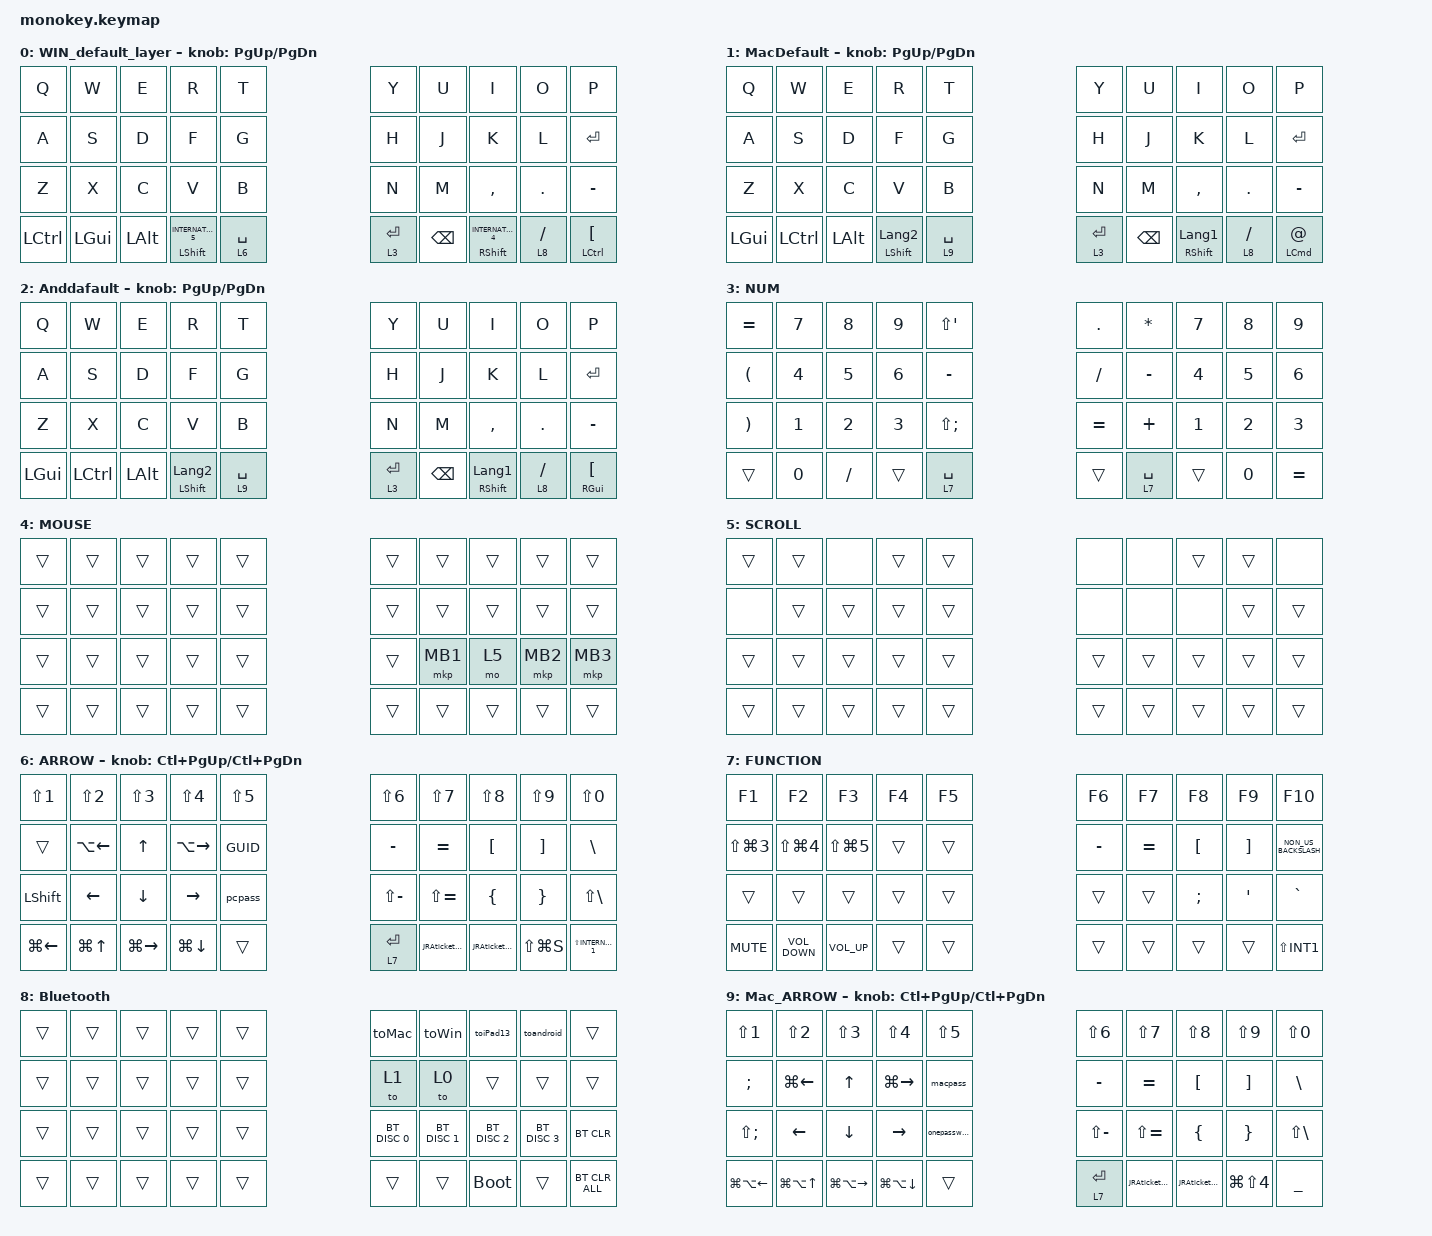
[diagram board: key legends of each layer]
/*
 * Copyright (c) 2024 Conductor Keyboard
 * Generated by Conductor Studio 2.0
 */

#include <input/processors.dtsi>
#include <behaviors.dtsi>
#include <dt-bindings/zmk/bt.h>
#include <dt-bindings/zmk/keys.h>
#include <dt-bindings/zmk/pointing.h>

#define MOUSE 4
#define SCROLL 5
#define NUM 2

&mt {
    flavor = "balanced";
    quick-tap-ms = <0>;
};

&mkp_input_listener { input-processors = <&zip_temp_layer 4 10000>; };

&lt { quick-tap-ms = <0>; };

/ {
    combos {
        compatible = "zmk,combos";

        backspace {
            bindings = <&kp BACKSPACE>;
            key-positions = <8 9>;
        };

        delete {
            bindings = <&kp DELETE>;
            key-positions = <9 8 7>;
        };

        tab {
            bindings = <&kp TAB>;
            key-positions = <0 1>;
        };

        shift_tab {
            bindings = <&kp LS(TAB)>;
            key-positions = <0 1 2>;
        };

        esc {
            bindings = <&kp ESCAPE>;
            key-positions = <10 0>;
        };

        scroll {
            bindings = <&mo 5>;
            key-positions = <27 35>;
        };

        kakuninnnyou {
            bindings = <&trans>;
            key-positions = <30 29 20 26 27 28 25>;
        };

        shift {
            bindings = <&kp LEFT_SHIFT>;
            key-positions = <20 21>;
        };

        double_quatation {
            bindings = <&kp SQT>;
            key-positions = <19 18>;
        };
    };

    macros {
        GUID: GUID {
            compatible = "zmk,behavior-macro";
            #binding-cells = <0>;
            bindings = <&kp S &kp H &kp U &kp N &kp DOT &kp S &kp DOT &kp O &kp K &kp U &kp N &kp O &kp LEFT_BRACKET &kp P &kp W &kp C &kp DOT &kp C &kp O &kp M>;
            label = "GUID";
        };

        pcpass: pwcpass {
            compatible = "zmk,behavior-macro";
            #binding-cells = <0>;
            bindings = <&kp LS(I) &kp L &kp I &kp V &kp E &kp I &kp N &kp LS(J) &kp U &kp N &kp E &kp N2 &kp N4 &kp N1 &kp N9 &kp N8 &kp N7 &kp EXCL>;
            label = "PWCPASS";
        };

        macpass: macpass {
            compatible = "zmk,behavior-macro";
            #binding-cells = <0>;
            bindings = <&kp A &kp L &kp T &kp E &kp R &kp N &kp A &kp T &kp I &kp V &kp E>;
            label = "MACPASS";
        };

        onepassword: onepassword {
            compatible = "zmk,behavior-macro";
            #binding-cells = <0>;
            bindings = <&kp LS(I) &kp L &kp I &kp V &kp E &kp I &kp N &kp LS(J) &kp A &kp P &kp A &kp N &kp N7 &kp EXCL>;
            label = "ONEPASSWORD";
        };

        toMac: toMacStudio {
            compatible = "zmk,behavior-macro";
            #binding-cells = <0>;
            bindings = <&bt BT_SEL 0>, <&macro_wait_time 200>, <&to 1>;

            label = "TOMACSTUDIO";
        };

        toWin: toiPad13 {
            compatible = "zmk,behavior-macro";
            #binding-cells = <0>;
            bindings = <&bt BT_SEL 1>, <&macro_wait_time 200>, <&to 0>;

            label = "TOIPAD13";
        };

        toiPad13: toiPad11 {
            compatible = "zmk,behavior-macro";
            #binding-cells = <0>;
            bindings = <&bt BT_SEL 2>, <&macro_wait_time 200>, <&to 1>;

            label = "TOIPAD11";
        };

        toiPadmini: toiPhone {
            compatible = "zmk,behavior-macro";
            #binding-cells = <0>;
            bindings = <&bt BT_SEL 3>, <&macro_wait_time 200>, <&to 1>;

            label = "TOIPHONE";
        };

        JRAticketSmartsheet2: JTAticketSmartsheet {
            compatible = "zmk,behavior-macro";
            #binding-cells = <0>;
            bindings = <&kp TAB &kp LEFT_SHIFT &kp ENTER &kp TAB &kp TAB &kp ENTER>;
            label = "JTATICKETSMARTSHEET";
        };

        JRAticketSmartsheet1: JRAticketSmartsheet1 {
            compatible = "zmk,behavior-macro";
            #binding-cells = <0>;
            bindings = <&kp TAB &kp LEFT_SHIFT &kp ENTER &kp TAB &kp ENTER>;
            label = "JRATICKETSMARTSHEET1";
        };

        toandroid: toandroid {
            compatible = "zmk,behavior-macro";
            #binding-cells = <0>;
            bindings = <&bt BT_SEL 3>, <&macro_wait_time 200>, <&to 2>;

            label = "TOANDROID";
        };
    };

    behaviors {
        right_click: right_click_behavior {
            compatible = "zmk,behavior-mouse-key";
            label = "RIGHT_CLICK";
            #binding-cells = <0>;

            // 右クリックは通常 MB2 に対応（ZMKの標準定義）

            bindings = <&mkp MB2>;
        };
    };

    keymap {
        compatible = "zmk,keymap";

        WIN_default_layer {
            bindings = <
&kp Q             &kp W         &kp E         &kp R                           &kp T                                    &kp Y                            &kp U  &kp I      &kp O        &kp P
&kp A             &kp S         &kp D         &kp F                           &kp G                                    &kp H                            &kp J  &kp K      &kp L        &kp ENTER
&kp Z             &kp X         &kp C         &kp V                           &kp B                                    &kp N                            &kp M  &kp COMMA  &kp PERIOD   &kp MINUS
&kp LEFT_CONTROL  &kp LEFT_GUI  &kp LEFT_ALT  &mt LEFT_SHIFT INTERNATIONAL_5  &lt 6 SPACE  &lt 3 ENTER  &kp BACKSPACE  &mt RIGHT_SHIFT INTERNATIONAL_4                    &lt 8 SLASH  &mt LEFT_CONTROL LEFT_BRACKET
            >;

            sensor-bindings = <&inc_dec_kp PG_UP PAGE_DOWN>;
        };

        MacDefault {
            bindings = <
&kp Q         &kp W             &kp E         &kp R                      &kp T                                    &kp Y                       &kp U  &kp I      &kp O        &kp P
&kp A         &kp S             &kp D         &kp F                      &kp G                                    &kp H                       &kp J  &kp K      &kp L        &kp ENTER
&kp Z         &kp X             &kp C         &kp V                      &kp B                                    &kp N                       &kp M  &kp COMMA  &kp PERIOD   &kp MINUS
&kp LEFT_GUI  &kp LEFT_CONTROL  &kp LEFT_ALT  &mt LEFT_SHIFT LANGUAGE_2  &lt 9 SPACE  &lt 3 ENTER  &kp BACKSPACE  &mt RIGHT_SHIFT LANGUAGE_1                    &lt 8 SLASH  &mt LEFT_COMMAND AT_SIGN
            >;

            sensor-bindings = <&inc_dec_kp PG_UP PAGE_DOWN>;
        };

        Anddafault {
            bindings = <
&kp Q         &kp W             &kp E         &kp R                      &kp T                                    &kp Y                       &kp U  &kp I      &kp O        &kp P
&kp A         &kp S             &kp D         &kp F                      &kp G                                    &kp H                       &kp J  &kp K      &kp L        &kp ENTER
&kp Z         &kp X             &kp C         &kp V                      &kp B                                    &kp N                       &kp M  &kp COMMA  &kp PERIOD   &kp MINUS
&kp LEFT_GUI  &kp LEFT_CONTROL  &kp LEFT_ALT  &mt LEFT_SHIFT LANGUAGE_2  &lt 9 SPACE  &lt 3 ENTER  &kp BACKSPACE  &mt RIGHT_SHIFT LANGUAGE_1                    &lt 8 SLASH  &mt RIGHT_GUI LEFT_BRACKET
            >;

            sensor-bindings = <&inc_dec_kp PG_UP PAGE_DOWN>;
        };

        NUM {
            bindings = <
&kp EQUAL              &kp N7        &kp N8        &kp N9        &kp LS(APOS)                            &kp DOT    &kp ASTRK  &kp N7        &kp N8        &kp N9
&kp LEFT_PARENTHESIS   &kp NUMBER_4  &kp N5        &kp NUMBER_6  &kp MINUS                               &kp SLASH  &kp MINUS  &kp NUMBER_4  &kp N5        &kp NUMBER_6
&kp RIGHT_PARENTHESIS  &kp NUMBER_1  &kp NUMBER_2  &kp NUMBER_3  &kp LS(SEMICOLON)                       &kp EQUAL  &kp PLUS   &kp NUMBER_1  &kp NUMBER_2  &kp NUMBER_3
&trans                 &kp N0        &kp SLASH     &trans        &lt 7 SPACE        &trans  &lt 7 SPACE  &trans                              &kp N0        &kp EQUAL
            >;
        };

        MOUSE {
            bindings = <
&trans  &trans  &trans  &trans  &trans                  &trans  &trans    &trans  &trans    &trans
&trans  &trans  &trans  &trans  &trans                  &trans  &trans    &trans  &trans    &trans
&trans  &trans  &trans  &trans  &trans                  &trans  &mkp MB1  &mo 5   &mkp MB2  &mkp MB3
&trans  &trans  &trans  &trans  &trans  &trans  &trans  &trans                    &trans    &trans
            >;
        };

        SCROLL {
            bindings = <
&trans  &trans  &none   &trans  &trans                  &none   &none   &trans  &trans  &none
&none   &trans  &trans  &trans  &trans                  &none   &none   &none   &trans  &trans
&trans  &trans  &trans  &trans  &trans                  &trans  &trans  &trans  &trans  &trans
&trans  &trans  &trans  &trans  &trans  &trans  &trans  &trans                  &trans  &trans
            >;
        };

        ARROW {
            bindings = <
&kp LS(NUMBER_1)    &kp LS(NUMBER_2)    &kp LS(NUMBER_3)     &kp LS(NUMBER_4)     &kp LS(N5)                                      &kp LS(NUMBER_6)       &kp LS(N7)     &kp LS(N8)        &kp LS(N9)         &kp LS(N0)
&trans              &kp LA(LEFT_ARROW)  &kp UP_ARROW         &kp LA(RIGHT_ARROW)  &GUID                                           &kp MINUS              &kp EQUAL      &kp LEFT_BRACKET  &kp RIGHT_BRACKET  &kp BACKSLASH
&kp LEFT_SHIFT      &kp LEFT_ARROW      &kp DOWN_ARROW       &kp RIGHT_ARROW      &pcpass                                         &kp LS(MINUS)          &kp LS(EQUAL)  &kp LEFT_BRACE    &kp RIGHT_BRACE    &kp LS(BACKSLASH)
&kp LG(LEFT_ARROW)  &kp LG(UP_ARROW)    &kp LG(RIGHT_ARROW)  &kp LG(DOWN_ARROW)   &trans      &lt 7 ENTER  &JRAticketSmartsheet1  &JRAticketSmartsheet2                                   &kp LS(LG(S))      &kp LS(INTERNATIONAL_1)
            >;

            sensor-bindings = <&inc_dec_kp LC(PAGE_UP) LC(PAGE_DOWN)>;
        };

        FUNCTION {
            bindings = <
&kp F1                &kp F2                &kp F3           &kp F4  &kp F5                  &kp F6     &kp F7     &kp F8            &kp F9             &kp F10
&kp LS(LG(NUMBER_3))  &kp LS(LG(NUMBER_4))  &kp LS(LG(N5))   &trans  &trans                  &kp MINUS  &kp EQUAL  &kp LEFT_BRACKET  &kp RIGHT_BRACKET  &kp NON_US_BACKSLASH
&trans                &trans                &trans           &trans  &trans                  &trans     &trans     &kp SEMICOLON     &kp SINGLE_QUOTE   &kp GRAVE
&kp K_MUTE            &kp C_VOLUME_DOWN     &kp C_VOLUME_UP  &trans  &trans  &trans  &trans  &trans                                  &trans             &kp LS(INT1)
            >;
        };

        Bluetooth {
            bindings = <
&trans  &trans  &trans  &trans  &trans                  &toMac         &toWin         &toiPad13      &toandroid     &trans
&trans  &trans  &trans  &trans  &trans                  &to 1          &to 0          &trans         &trans         &trans
&trans  &trans  &trans  &trans  &trans                  &bt BT_DISC 0  &bt BT_DISC 1  &bt BT_DISC 2  &bt BT_DISC 3  &bt BT_CLR
&trans  &trans  &trans  &trans  &trans  &trans  &trans  &bootloader                                  &trans         &bt BT_CLR_ALL
            >;
        };

        Mac_ARROW {
            bindings = <
&kp LS(NUMBER_1)        &kp LS(NUMBER_2)      &kp LS(NUMBER_3)         &kp LS(NUMBER_4)        &kp LS(N5)                                        &kp LS(NUMBER_6)       &kp LS(N7)     &kp LS(N8)        &kp LS(N9)            &kp LS(N0)
&kp SEMICOLON           &kp LG(LEFT_ARROW)    &kp UP_ARROW             &kp LG(RIGHT_ARROW)     &macpass                                          &kp MINUS              &kp EQUAL      &kp LEFT_BRACKET  &kp RIGHT_BRACKET     &kp BACKSLASH
&kp LS(SEMICOLON)       &kp LEFT_ARROW        &kp DOWN_ARROW           &kp RIGHT_ARROW         &onepassword                                      &kp LS(MINUS)          &kp LS(EQUAL)  &kp LEFT_BRACE    &kp RIGHT_BRACE       &kp LS(BACKSLASH)
&kp LG(LA(LEFT_ARROW))  &kp LG(LA(UP_ARROW))  &kp LG(LA(RIGHT_ARROW))  &kp LG(LA(DOWN_ARROW))  &trans        &lt 7 ENTER  &JRAticketSmartsheet1  &JRAticketSmartsheet2                                   &kp LG(LS(NUMBER_4))  &kp UNDERSCORE
            >;

            sensor-bindings = <&inc_dec_kp LC(PAGE_UP) LC(PAGE_DOWN)>;
        };
    };
};
